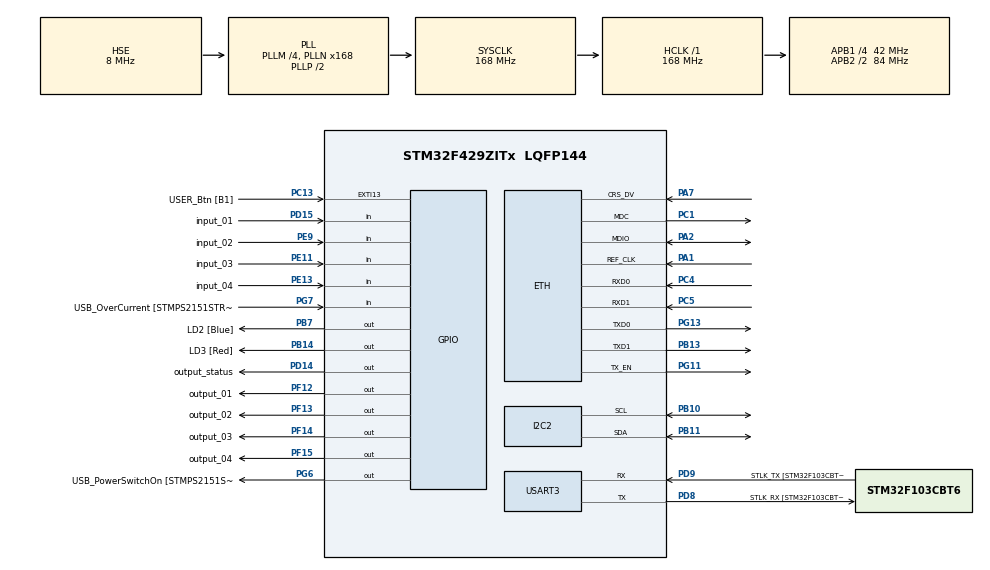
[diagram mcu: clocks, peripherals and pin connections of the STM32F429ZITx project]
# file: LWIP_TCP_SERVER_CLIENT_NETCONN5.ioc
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ETH.MediaInterface=HAL_ETH_RMII_MODE
ETH.RxMode=ETH_RXINTERRUPT_MODE
FREERTOS.Mutexes01=uartMutex,Dynamic,NULL;coilMutex,Dynamic,NULL;discreteMutex,Dynamic,NULL
FREERTOS.Tasks01=defaultTask,0,512,StartDefaultTask,Default,NULL,Dynamic,NULL,NULL;DriverTask,0,128,StartDriverTask,Default,NULL,Dynamic,NULL,NULL;EepromManagment,-2,128,EepromReadWrite,Default,NULL,Dynamic,NULL,NULL
FREERTOS.configTOTAL_HEAP_SIZE=20000
FREERTOS.configUSE_NEWLIB_REENTRANT=1
I2C2.I2C_Mode=I2C_Fast
LWIP.BSP.number=1
LWIP.CMSIS_VERSION-Enabled=1
LWIP.GATEWAY_ADDRESS=192.168.001.001
LWIP.IP_ADDRESS=192.168.001.130
LWIP.LWIP_DHCP=0
LWIP.LWIP_SO_RCVTIMEO=1
LWIP.LWIP_TCP_KEEPALIVE=1
LWIP.MEM_SIZE=10*1024
LWIP.NETMASK_ADDRESS=255.255.255.000
LWIP.TCP_SND_BUF=1072
LWIP.TCP_WND_UPDATE_THRESHOLD=536
LWIP.Version=v2.1.2_Cube
LWIP0.BSP.STBoard=false
LWIP0.BSP.api=BSP_COMPONENT_DRIVER
LWIP0.BSP.component=LAN8742
LWIP0.BSP.instance=LAN8742
LWIP0.BSP.name=Driver_PHY
LWIP0.BSP.semaphore=S_LAN8742
LWIP0.BSP.solution=LAN8742
Mcu.Family=STM32F4
Mcu.Name=STM32F429ZITx
Mcu.Package=LQFP144
NVIC.ETH_IRQn=true\:5\:0\:true\:false\:true\:true\:false\:true\:true
NVIC.PriorityGroup=NVIC_PRIORITYGROUP_4
NVIC.TIM6_DAC_IRQn=true\:15\:0\:false\:false\:true\:false\:false\:true\:true
NVIC.TimeBase=TIM6_DAC_IRQn
NVIC.TimeBaseIP=TIM6
PA1.GPIO_Mode=GPIO_MODE_AF_PP
PA1.GPIO_PuPd=GPIO_NOPULL
PA1.GPIO_Speed=GPIO_SPEED_FREQ_VERY_HIGH
PA1.Mode=RMII
PA1.Signal=ETH_REF_CLK
PA10.GPIO_Label=USB_ID
PA10.Signal=USB_OTG_FS_ID
PA11.GPIO_Label=USB_DM
PA11.Signal=USB_OTG_FS_DM
PA12.GPIO_Label=USB_DP
PA12.Signal=USB_OTG_FS_DP
PA13.GPIO_Label=TMS
PA13.Mode=Serial_Wire
PA13.Signal=SYS_JTMS-SWDIO
PA14.GPIO_Label=TCK
PA14.Mode=Serial_Wire
PA14.Signal=SYS_JTCK-SWCLK
PA2.GPIO_Mode=GPIO_MODE_AF_PP
PA2.GPIO_PuPd=GPIO_NOPULL
PA2.GPIO_Speed=GPIO_SPEED_FREQ_VERY_HIGH
PA2.Mode=RMII
PA2.Signal=ETH_MDIO
PA7.GPIO_Mode=GPIO_MODE_AF_PP
PA7.GPIO_PuPd=GPIO_NOPULL
PA7.GPIO_Speed=GPIO_SPEED_FREQ_VERY_HIGH
PA7.Mode=RMII
PA7.Signal=ETH_CRS_DV
PA9.GPIO_Label=USB_VBUS
PA9.Signal=USB_OTG_FS_VBUS
PB10.Mode=I2C
PB10.Signal=I2C2_SCL
PB11.Mode=I2C
PB11.Signal=I2C2_SDA
PB13.GPIO_Mode=GPIO_MODE_AF_PP
PB13.GPIO_PuPd=GPIO_NOPULL
PB13.GPIO_Speed=GPIO_SPEED_FREQ_VERY_HIGH
PB13.Mode=RMII
PB13.Signal=ETH_TXD1
PB14.GPIO_Label=LD3 [Red]
PB14.Signal=GPIO_Output
PB7.GPIO_Label=LD2 [Blue]
PB7.Signal=GPIO_Output
PC1.GPIO_Mode=GPIO_MODE_AF_PP
PC1.GPIO_PuPd=GPIO_NOPULL
PC1.GPIO_Speed=GPIO_SPEED_FREQ_VERY_HIGH
PC1.Mode=RMII
PC1.Signal=ETH_MDC
PC13.GPIO_Label=USER_Btn [B1]
PC13.Signal=GPXTI13
PC14/OSC32_IN.Signal=RCC_OSC32_IN
PC15/OSC32_OUT.Signal=RCC_OSC32_OUT
PC4.GPIO_Mode=GPIO_MODE_AF_PP
PC4.GPIO_PuPd=GPIO_NOPULL
PC4.GPIO_Speed=GPIO_SPEED_FREQ_VERY_HIGH
PC4.Mode=RMII
PC4.Signal=ETH_RXD0
PC5.GPIO_Mode=GPIO_MODE_AF_PP
PC5.GPIO_PuPd=GPIO_NOPULL
PC5.GPIO_Speed=GPIO_SPEED_FREQ_VERY_HIGH
PC5.Mode=RMII
PC5.Signal=ETH_RXD1
PD14.GPIO_Label=output_status
PD14.Signal=GPIO_Output
PD15.GPIO_Label=input_01
PD15.GPIO_PuPd=GPIO_PULLUP
PD15.Signal=GPIO_Input
PD8.GPIO_Label=STLK_RX [STM32F103CBT6_PA3]
PD8.Mode=Asynchronous
PD8.Signal=USART3_TX
PD9.GPIO_Label=STLK_TX [STM32F103CBT6_PA2]
PD9.Mode=Asynchronous
PD9.Signal=USART3_RX
PE11.GPIO_Label=input_03
PE11.GPIO_PuPd=GPIO_PULLUP
PE11.Signal=GPIO_Input
PE13.GPIO_Label=input_04
PE13.GPIO_PuPd=GPIO_PULLUP
PE13.Signal=GPIO_Input
PE9.GPIO_Label=input_02
PE9.GPIO_PuPd=GPIO_PULLUP
PE9.Signal=GPIO_Input
PF12.GPIO_Label=output_01
PF12.Signal=GPIO_Output
PF13.GPIO_Label=output_02
PF13.Signal=GPIO_Output
PF14.GPIO_Label=output_03
PF14.Signal=GPIO_Output
PF15.GPIO_Label=output_04
PF15.Signal=GPIO_Output
PG11.GPIO_Mode=GPIO_MODE_AF_PP
PG11.GPIO_PuPd=GPIO_NOPULL
PG11.GPIO_Speed=GPIO_SPEED_FREQ_VERY_HIGH
PG11.Mode=RMII
PG11.Signal=ETH_TX_EN
PG13.GPIO_Mode=GPIO_MODE_AF_PP
PG13.GPIO_PuPd=GPIO_NOPULL
PG13.GPIO_Speed=GPIO_SPEED_FREQ_VERY_HIGH
PG13.Mode=RMII
PG13.Signal=ETH_TXD0
PG6.GPIO_Label=USB_PowerSwitchOn [STMPS2151STR_EN]
PG6.Signal=GPIO_Output
PG7.GPIO_Label=USB_OverCurrent [STMPS2151STR_FAULT]
PG7.Signal=GPIO_Input
PH0/OSC_IN.GPIO_Label=MCO [STM32F103CBT6_PA8]
PH0/OSC_IN.Mode=HSE-External-Oscillator
PH0/OSC_IN.Signal=RCC_OSC_IN
PH1/OSC_OUT.Mode=HSE-External-Oscillator
PH1/OSC_OUT.Signal=RCC_OSC_OUT
ProjectManager.HeapSize=0x200
ProjectManager.StackSize=0x400
ProjectManager.TargetToolchain=STM32CubeIDE
RCC.48MHZClocksFreq_Value=48000000
RCC.AHBFreq_Value=168000000
RCC.APB1CLKDivider=RCC_HCLK_DIV4
RCC.APB1Freq_Value=42000000
RCC.APB1TimFreq_Value=84000000
RCC.APB2CLKDivider=RCC_HCLK_DIV2
RCC.APB2Freq_Value=84000000
RCC.APB2TimCLKDivider=2
RCC.APB2TimFreq_Value=168000000
RCC.CortexFreq_Value=168000000
RCC.HCLKFreq_Value=168000000
RCC.HSE_VALUE=8000000
RCC.HSI_VALUE=16000000
RCC.LSE_VALUE=32768
RCC.PLLM=4
RCC.PLLMUL=RCC_PLL_MUL9
RCC.PLLN=168
RCC.PLLQ=7
RCC.PLLSourceVirtual=RCC_PLLSOURCE_HSE
RCC.PRESCALERUSB=RCC_USBCLKSOURCE_PLL_DIV1_5
RCC.SYSCLKFreq_VALUE=168000000
RCC.SYSCLKSource=RCC_SYSCLKSOURCE_PLLCLK
RCC.SYSCLKSourceVirtual=RCC_SYSCLKSOURCE_PLLCLK
RCC.USBFreq_Value=48000000
RCC.VCOOutputFreq_Value=336000000
USART3.VirtualMode=VM_ASYNC
VP_FREERTOS_VS_CMSIS_V1.Mode=CMSIS_V1
VP_LWIP_VS_Enabled.Mode=Enabled
VP_SYS_VS_tim6.Mode=TIM6
board=NUCLEO-F429ZI

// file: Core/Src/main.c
/* USER CODE BEGIN Header */
/**
  ******************************************************************************
  * @file           : main.c
  * @brief          : Main program body
  ******************************************************************************
  * @attention
  *
  * Copyright (c) 2024 STMicroelectronics.
  * All rights reserved.
  *
  * This software is licensed under terms that can be found in the LICENSE file
  * in the root directory of this software component.
  * If no LICENSE file comes with this software, it is provided AS-IS.
  *
  ******************************************************************************
  */
/* USER CODE END Header */
#include "main.h"
#include "cmsis_os.h"
#include "lwip.h"

/* USER CODE BEGIN Includes */
#include "tcpserver.h"
#include "string.h"
#include "modbus.h"
#include "driverIO.h"
#include "EEPROM.h"

/* USER CODE END Includes */

I2C_HandleTypeDef hi2c2;

UART_HandleTypeDef huart3;

osThreadId defaultTaskHandle;
osThreadId DriverTaskHandle;
osThreadId EepromManagmentHandle;
osMutexId uartMutexHandle;
osMutexId coilMutexHandle;
osMutexId discreteMutexHandle;
/* USER CODE BEGIN PV */

// Estado de los coils (salidas)
uint8_t coil_status[MB_COILS_Q];
// Estado de las discretas (entradas)
uint8_t discrete_status[MB_DISCRETE_Q];
// Estado de inputs analógicas
uint16_t input_status[MB_INPUT_Q];
// holdings registers de 16 bits
uint16_t holding_registers[MB_HOLDING_Q];

/* USER CODE END PV */

void SystemClock_Config(void);
static void MX_GPIO_Init(void);
static void MX_USART3_UART_Init(void);
static void MX_I2C2_Init(void);
void StartDefaultTask(void const * argument);
void StartDriverTask(void const * argument);
void EepromReadWrite(void const * argument);

int main(void)
{

  /* USER CODE BEGIN 1 */

	// Configuramos algunos estados de coils para el ejemplo
//    coil_status[0] = 1;
//    coil_status[1] = 0;
//    coil_status[2] = 0;
//    coil_status[3] = 1;
//    coil_status[4] = 0;
//    coil_status[5] = 0;
//    coil_status[6] = 0;
//    coil_status[7] = 1;
//
//    coil_status[8] = 1;
//    coil_status[15] = 1;
//
//    coil_status[16] = 0;
//    coil_status[23] = 1;
//
//    coil_status[24] = 1;
//    coil_status[31] = 1;

  /* USER CODE END 1 */

  /* MCU Configuration--------------------------------------------------------*/

  /* Reset of all peripherals, Initializes the Flash interface and the Systick. */
  HAL_Init();

  /* Configure the system clock */
  SystemClock_Config();

  /* Initialize all configured peripherals */
  MX_GPIO_Init();
  MX_USART3_UART_Init();
  MX_I2C2_Init();

  /* Create the mutex(es) */
  /* definition and creation of uartMutex */
  osMutexDef(uartMutex);
  uartMutexHandle = osMutexCreate(osMutex(uartMutex));

  /* definition and creation of coilMutex */
  osMutexDef(coilMutex);
  coilMutexHandle = osMutexCreate(osMutex(coilMutex));

  /* definition and creation of discreteMutex */
  osMutexDef(discreteMutex);
  discreteMutexHandle = osMutexCreate(osMutex(discreteMutex));

  /* Create the thread(s) */
  /* definition and creation of defaultTask */
  osThreadDef(defaultTask, StartDefaultTask, osPriorityNormal, 0, 512);
  defaultTaskHandle = osThreadCreate(osThread(defaultTask), NULL);

  /* definition and creation of DriverTask */
  osThreadDef(DriverTask, StartDriverTask, osPriorityNormal, 0, 128);
  DriverTaskHandle = osThreadCreate(osThread(DriverTask), NULL);

  /* definition and creation of EepromManagment */
  osThreadDef(EepromManagment, EepromReadWrite, osPriorityLow, 0, 128);
  EepromManagmentHandle = osThreadCreate(osThread(EepromManagment), NULL);

  /* Start scheduler */
  osKernelStart();

  /* We should never get here as control is now taken by the scheduler */

  /* Infinite loop */
  while (1)
  {

  }
}

void SystemClock_Config(void)
{
  RCC_OscInitTypeDef RCC_OscInitStruct = {0};
  RCC_ClkInitTypeDef RCC_ClkInitStruct = {0};

  /** Configure the main internal regulator output voltage
  */
  __HAL_RCC_PWR_CLK_ENABLE();
  __HAL_PWR_VOLTAGESCALING_CONFIG(PWR_REGULATOR_VOLTAGE_SCALE1);

  /** Initializes the RCC Oscillators according to the specified parameters
  * in the RCC_OscInitTypeDef structure.
  */
  RCC_OscInitStruct.OscillatorType = RCC_OSCILLATORTYPE_HSE;
  RCC_OscInitStruct.HSEState = RCC_HSE_ON;
  RCC_OscInitStruct.PLL.PLLState = RCC_PLL_ON;
  RCC_OscInitStruct.PLL.PLLSource = RCC_PLLSOURCE_HSE;
  RCC_OscInitStruct.PLL.PLLM = 4;
  RCC_OscInitStruct.PLL.PLLN = 168;
  RCC_OscInitStruct.PLL.PLLP = RCC_PLLP_DIV2;
  RCC_OscInitStruct.PLL.PLLQ = 7;
  if (HAL_RCC_OscConfig(&RCC_OscInitStruct) != HAL_OK)
  {
    Error_Handler();
  }

  /** Initializes the CPU, AHB and APB buses clocks
  */
  RCC_ClkInitStruct.ClockType = RCC_CLOCKTYPE_HCLK|RCC_CLOCKTYPE_SYSCLK
                              |RCC_CLOCKTYPE_PCLK1|RCC_CLOCKTYPE_PCLK2;
  RCC_ClkInitStruct.SYSCLKSource = RCC_SYSCLKSOURCE_PLLCLK;
  RCC_ClkInitStruct.AHBCLKDivider = RCC_SYSCLK_DIV1;
  RCC_ClkInitStruct.APB1CLKDivider = RCC_HCLK_DIV4;
  RCC_ClkInitStruct.APB2CLKDivider = RCC_HCLK_DIV2;

  if (HAL_RCC_ClockConfig(&RCC_ClkInitStruct, FLASH_LATENCY_5) != HAL_OK)
  {
    Error_Handler();
  }
}

static void MX_I2C2_Init(void)
{

  hi2c2.Instance = I2C2;
  hi2c2.Init.ClockSpeed = 400000;
  hi2c2.Init.DutyCycle = I2C_DUTYCYCLE_2;
  hi2c2.Init.OwnAddress1 = 0;
  hi2c2.Init.AddressingMode = I2C_ADDRESSINGMODE_7BIT;
  hi2c2.Init.DualAddressMode = I2C_DUALADDRESS_DISABLE;
  hi2c2.Init.OwnAddress2 = 0;
  hi2c2.Init.GeneralCallMode = I2C_GENERALCALL_DISABLE;
  hi2c2.Init.NoStretchMode = I2C_NOSTRETCH_DISABLE;
  if (HAL_I2C_Init(&hi2c2) != HAL_OK)
  {
    Error_Handler();
  }

  /** Configure Analogue filter
  */
  if (HAL_I2CEx_ConfigAnalogFilter(&hi2c2, I2C_ANALOGFILTER_ENABLE) != HAL_OK)
  {
    Error_Handler();
  }

  /** Configure Digital filter
  */
  if (HAL_I2CEx_ConfigDigitalFilter(&hi2c2, 0) != HAL_OK)
  {
    Error_Handler();
  }

}

static void MX_USART3_UART_Init(void)
{

  huart3.Instance = USART3;
  huart3.Init.BaudRate = 115200;
  huart3.Init.WordLength = UART_WORDLENGTH_8B;
  huart3.Init.StopBits = UART_STOPBITS_1;
  huart3.Init.Parity = UART_PARITY_NONE;
  huart3.Init.Mode = UART_MODE_TX_RX;
  huart3.Init.HwFlowCtl = UART_HWCONTROL_NONE;
  huart3.Init.OverSampling = UART_OVERSAMPLING_16;
  if (HAL_UART_Init(&huart3) != HAL_OK)
  {
    Error_Handler();
  }

}

static void MX_GPIO_Init(void)
{
  GPIO_InitTypeDef GPIO_InitStruct = {0};

  /* GPIO Ports Clock Enable */
  __HAL_RCC_GPIOC_CLK_ENABLE();
  __HAL_RCC_GPIOH_CLK_ENABLE();
  __HAL_RCC_GPIOA_CLK_ENABLE();
  __HAL_RCC_GPIOF_CLK_ENABLE();
  __HAL_RCC_GPIOE_CLK_ENABLE();
  __HAL_RCC_GPIOB_CLK_ENABLE();
  __HAL_RCC_GPIOD_CLK_ENABLE();
  __HAL_RCC_GPIOG_CLK_ENABLE();

  /*Configure GPIO pin Output Level */
  HAL_GPIO_WritePin(GPIOF, output_01_Pin|output_02_Pin|output_03_Pin|output_04_Pin, GPIO_PIN_RESET);

  /*Configure GPIO pin Output Level */
  HAL_GPIO_WritePin(GPIOB, LD3_Pin|LD2_Pin, GPIO_PIN_RESET);

  /*Configure GPIO pin Output Level */
  HAL_GPIO_WritePin(output_status_GPIO_Port, output_status_Pin, GPIO_PIN_RESET);

  /*Configure GPIO pin Output Level */
  HAL_GPIO_WritePin(USB_PowerSwitchOn_GPIO_Port, USB_PowerSwitchOn_Pin, GPIO_PIN_RESET);

  /*Configure GPIO pin : USER_Btn_Pin */
  GPIO_InitStruct.Pin = USER_Btn_Pin;
  GPIO_InitStruct.Mode = GPIO_MODE_IT_RISING;
  GPIO_InitStruct.Pull = GPIO_NOPULL;
  HAL_GPIO_Init(USER_Btn_GPIO_Port, &GPIO_InitStruct);

  /*Configure GPIO pins : output_01_Pin output_02_Pin output_03_Pin output_04_Pin */
  GPIO_InitStruct.Pin = output_01_Pin|output_02_Pin|output_03_Pin|output_04_Pin;
  GPIO_InitStruct.Mode = GPIO_MODE_OUTPUT_PP;
  GPIO_InitStruct.Pull = GPIO_NOPULL;
  GPIO_InitStruct.Speed = GPIO_SPEED_FREQ_LOW;
  HAL_GPIO_Init(GPIOF, &GPIO_InitStruct);

  /*Configure GPIO pins : input_02_Pin input_03_Pin input_04_Pin */
  GPIO_InitStruct.Pin = input_02_Pin|input_03_Pin|input_04_Pin;
  GPIO_InitStruct.Mode = GPIO_MODE_INPUT;
  GPIO_InitStruct.Pull = GPIO_PULLUP;
  HAL_GPIO_Init(GPIOE, &GPIO_InitStruct);

  /*Configure GPIO pins : LD3_Pin LD2_Pin */
  GPIO_InitStruct.Pin = LD3_Pin|LD2_Pin;
  GPIO_InitStruct.Mode = GPIO_MODE_OUTPUT_PP;
  GPIO_InitStruct.Pull = GPIO_NOPULL;
  GPIO_InitStruct.Speed = GPIO_SPEED_FREQ_LOW;
  HAL_GPIO_Init(GPIOB, &GPIO_InitStruct);

  /*Configure GPIO pin : output_status_Pin */
  GPIO_InitStruct.Pin = output_status_Pin;
  GPIO_InitStruct.Mode = GPIO_MODE_OUTPUT_PP;
  GPIO_InitStruct.Pull = GPIO_NOPULL;
  GPIO_InitStruct.Speed = GPIO_SPEED_FREQ_LOW;
  HAL_GPIO_Init(output_status_GPIO_Port, &GPIO_InitStruct);

  /*Configure GPIO pin : input_01_Pin */
  GPIO_InitStruct.Pin = input_01_Pin;
  GPIO_InitStruct.Mode = GPIO_MODE_INPUT;
  GPIO_InitStruct.Pull = GPIO_PULLUP;
  HAL_GPIO_Init(input_01_GPIO_Port, &GPIO_InitStruct);

  /*Configure GPIO pin : USB_PowerSwitchOn_Pin */
  GPIO_InitStruct.Pin = USB_PowerSwitchOn_Pin;
  GPIO_InitStruct.Mode = GPIO_MODE_OUTPUT_PP;
  GPIO_InitStruct.Pull = GPIO_NOPULL;
  GPIO_InitStruct.Speed = GPIO_SPEED_FREQ_LOW;
  HAL_GPIO_Init(USB_PowerSwitchOn_GPIO_Port, &GPIO_InitStruct);

  /*Configure GPIO pin : USB_OverCurrent_Pin */
  GPIO_InitStruct.Pin = USB_OverCurrent_Pin;
  GPIO_InitStruct.Mode = GPIO_MODE_INPUT;
  GPIO_InitStruct.Pull = GPIO_NOPULL;
  HAL_GPIO_Init(USB_OverCurrent_GPIO_Port, &GPIO_InitStruct);

  /*Configure GPIO pin : USB_VBUS_Pin */
  GPIO_InitStruct.Pin = USB_VBUS_Pin;
  GPIO_InitStruct.Mode = GPIO_MODE_INPUT;
  GPIO_InitStruct.Pull = GPIO_NOPULL;
  HAL_GPIO_Init(USB_VBUS_GPIO_Port, &GPIO_InitStruct);

  /*Configure GPIO pins : USB_ID_Pin USB_DM_Pin USB_DP_Pin */
  GPIO_InitStruct.Pin = USB_ID_Pin|USB_DM_Pin|USB_DP_Pin;
  GPIO_InitStruct.Mode = GPIO_MODE_AF_PP;
  GPIO_InitStruct.Pull = GPIO_NOPULL;
  GPIO_InitStruct.Speed = GPIO_SPEED_FREQ_VERY_HIGH;
  GPIO_InitStruct.Alternate = GPIO_AF10_OTG_FS;
  HAL_GPIO_Init(GPIOA, &GPIO_InitStruct);

}

/* USER CODE BEGIN 4 */

void SendString(const char *str) {
    // Toma el mutex antes de transmitir
    if (osMutexWait(uartMutexHandle, osWaitForever) == osOK) {
        HAL_UART_Transmit(&huart3, (uint8_t *)str, strlen(str), HAL_MAX_DELAY);
        // Libera el mutex después de transmitir
        osMutexRelease(uartMutexHandle);
    } else {
        // Manejo de error si no se puede tomar el mutex
        // Esto debería ser raro si usas osWaitForever
    }
}

void SendNumber(int16_t number) {
    char buffer[20];  // Buffer para almacenar el número como cadena
    sprintf(buffer, "%d", number);  // Convierte el número a cadena
    SendString(buffer);  // Envia la cadena por UART
}

/* USER CODE END 4 */

void StartDefaultTask(void const * argument)
{
  /* init code for LWIP */
  MX_LWIP_Init();
  /* USER CODE BEGIN 5 */
  tcpserver_init();

  //const char *mensaje = "I'm alive!!!\n";
  const char *mensaje_bienvenida = "inicio Modbus TCP Remoto en modo Servidor\r";

  SendString(mensaje_bienvenida);

  //ITM_SendString(mensaje_bienvenida);

  /* Infinite loop */
  for(;;)
  {
	  //SendString(mensaje);
	  osDelay(500);

	  osDelay(1);
  }
  /* USER CODE END 5 */
}

void StartDriverTask(void const * argument)
{
  /* USER CODE BEGIN StartDriverTask */
  /* Infinite loop */
  for(;;)
  {
	  inputOutputControl();
	  osDelay(20);
  }
  /* USER CODE END StartDriverTask */
}

void EepromReadWrite(void const * argument)
{
  /* USER CODE BEGIN EepromReadWrite */
  /* Infinite loop */
  for(;;)
  {
	  detectTransitions();
	  osDelay(500);
  }
  /* USER CODE END EepromReadWrite */
}

void HAL_TIM_PeriodElapsedCallback(TIM_HandleTypeDef *htim)
{
  if (htim->Instance == TIM6) {
    HAL_IncTick();
  }
}

void Error_Handler(void)
{
  __disable_irq();
  while (1)
  {
  }
}
